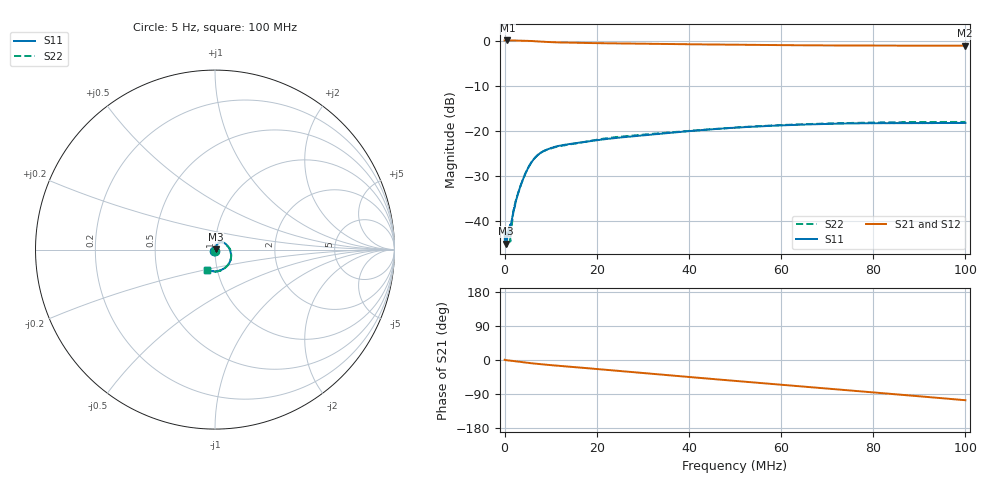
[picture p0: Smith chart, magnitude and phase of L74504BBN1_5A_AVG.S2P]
!Agilent Technologies,E5061B,MY49102235,A.02.00
!Date: Tue Jul 11 15:03:20 2023
!Data & Calibration Information:
!Freq	S11:SOLT2(ON)	S21:SOLT2(ON)	S12:SOLT2(ON)	S22:SOLT2(ON)
# Hz S RI R 50
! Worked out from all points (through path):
!   1600 points, 5 Hz to 100 MHz, reference 50 ohm
!   highest |S21| = 0.02 dB at 625.4 kHz (marker M1); lowest = -1.1 dB at 99.81 MHz (marker M2)
!   group delay of S21, straight-line fit = 2.88 ns
!   lowest |S11| = -45.1 dB at 250.2 kHz (marker M3), VSWR 1.01, Z = 50.5 + j0.171 ohm
!   |S11| at or under -10 dB: start of sweep to end of sweep
!   |S22| runs from -45.7 to -18.1 dB; largest |S21 - S12| = 0.0026
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5  -0.00521 -0.00563  1.002 0.008  1 0.0102  -0.00153 -0.00754
250161.3  0.00531 0.0017  1.001 -0.00508  1.001 -0.005  0.00729 -0.000182
625395.8  0.00527 0.00402  1.002 -0.0151  1.002 -0.0146  0.00628 0.0036
938091.3  0.00469 0.00654  1.001 -0.0221  1.001 -0.0217  0.00627 0.00595
1188248  0.00507 0.00745  1.001 -0.0288  1.001 -0.0282  0.00322 0.0065
1563482  0.00511 0.0087  1 -0.0379  1 -0.0371  0.00389 0.00817
2063795  0.00437 0.0131  1 -0.0515  0.9997 -0.052  0.00479 0.0128
2376490  0.00494 0.015  0.9983 -0.0592  0.9986 -0.0595  0.00557 0.0153
3377116  0.00798 0.0224  0.9954 -0.0853  0.9951 -0.0855  0.00682 0.0225
4878054  0.015 0.0333  0.9863 -0.1248  0.9861 -0.1246  0.0145 0.0337
6253913  0.0261 0.0399  0.9724 -0.1576  0.9723 -0.1574  0.0254 0.0404
7879930  0.0395 0.0407  0.9544 -0.1893  0.9541 -0.1892  0.0393 0.0414
9881180  0.0521 0.0363  0.9353 -0.2225  0.9349 -0.2223  0.0514 0.0365
1.669794e7  0.0717 0.0179  0.8822 -0.3269  0.8821 -0.3267  0.0715 0.0178
2.345216e7  0.082 0.00236  0.8266 -0.4284  0.8264 -0.428  0.0839 0.00125
3.333334e7  0.0889 -0.023  0.7253 -0.5626  0.7252 -0.5623  0.09 -0.024
5.003127e7  0.082 -0.0699  0.5136 -0.7372  0.5135 -0.737  0.0819 -0.0707
6.672921e7  0.0456 -0.1082  0.272 -0.8419  0.2722 -0.8418  0.0466 -0.109
8.33646e7  -0.00165 -0.1209  0.0161 -0.8786  0.0161 -0.8787  -0.00136 -0.1235
9.161976e7  -0.025 -0.1186  -0.1137 -0.8703  -0.1136 -0.8702  -0.0251 -0.1221
9.981238e7  -0.0463 -0.1126  -0.2408 -0.8433  -0.2407 -0.8434  -0.0466 -0.1156
1e8  -0.0468 -0.1124  -0.2438 -0.8425  -0.2437 -0.8425  -0.047 -0.1156
